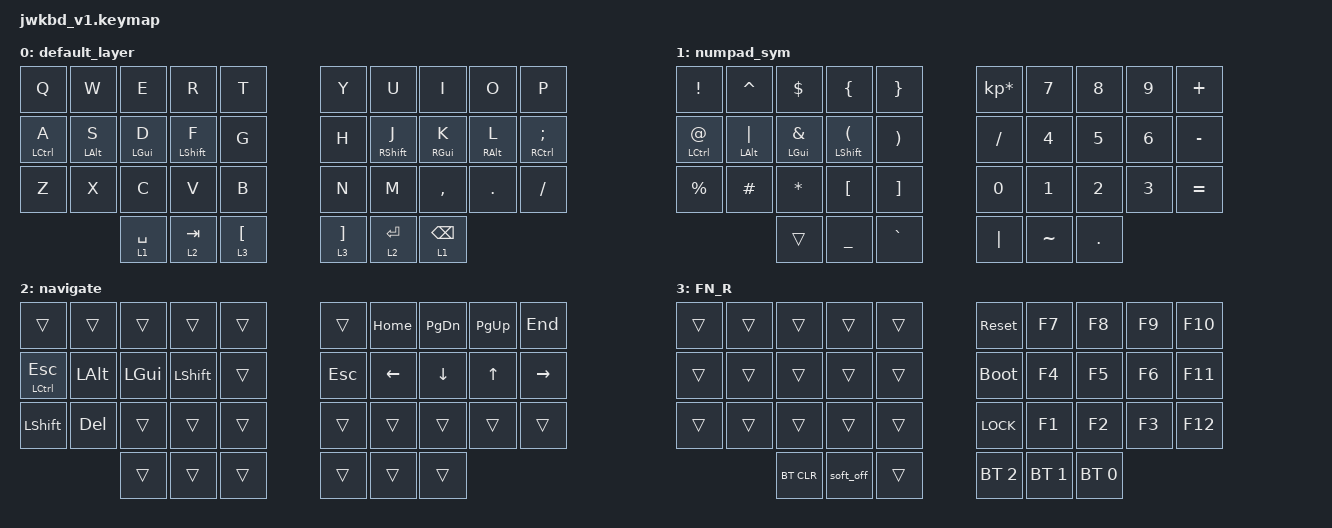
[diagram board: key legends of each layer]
#include <behaviors.dtsi>
#include <dt-bindings/zmk/bt.h>
#include <dt-bindings/zmk/keys.h>

/ {
    combos {
        compatible = "zmk,combos";
        timeout-ms = <50>;

        combo_ae { key-positions = <10 11>; bindings = <&kp RA(A)>; }; // A + S = ą
        combo_cc { key-positions = <22 23>; bindings = <&kp RA(C)>; }; // C + V = ć
        combo_ee { key-positions = <2 3>;   bindings = <&kp RA(E)>; }; // E + R = ę
        combo_ll { key-positions = <18 19>; bindings = <&kp RA(L)>; }; // L + ; = ł
        combo_nn { key-positions = <25 26>; bindings = <&kp RA(N)>; }; // N + M = ń
        combo_oo { key-positions = <8 9>;   bindings = <&kp RA(O)>; }; // O + P = ó
        combo_ss { key-positions = <11 12>; bindings = <&kp RA(S)>; }; // S + D = ś
        combo_zz { key-positions = <20 21>; bindings = <&kp RA(Z)>; }; // Z + X = ż
        combo_xx { key-positions = <21 22>; bindings = <&kp RA(X)>; }; // X + C = ź

        combo_esc { key-positions = <0 1>; bindings = <&kp ESC>; }; // Q + W = ESC
        combo_tab { key-positions = <1 2>; bindings = <&kp TAB>; }; // W + E = TAB

        combo_qmark { key-positions = <27 28>; bindings = <&kp QUESTION>; }; // , + . = ?
        combo_excl  { key-positions = <28 29>; bindings = <&kp EXCLAMATION>; }; // . + / = !

        combo_run { key-positions = <30 31>; bindings = <&kp LG(SPACE)>; }; // TAB + SPACE = launchpad
        combo_quit  { key-positions = <34 25>; bindings = <&kp LG(Q)>; }; // BSPC + ENTER = quit program
    };

    behaviors {
        hm: homerow_mods {
            compatible = "zmk,behavior-hold-tap";
            label = "HOMEROW_MODS";
            #binding-cells = <2>;
            tapping-term-ms = <150>;
            quick-tap-ms = <200>;
            flavor = "tap-preferred";
            bindings = <&kp>, <&kp>;
        };
    };

    keymap {
        compatible = "zmk,keymap";

        default_layer {
            bindings = <
    &kp Q       &kp W      &kp E       &kp R       &kp T       &kp Y      &kp U        &kp I      &kp O      &kp P
    &hm LCTRL A &hm LALT S &hm LGUI D  &hm LSHFT F &kp G       &kp H      &hm RSHFT J  &hm RGUI K &hm RALT L &hm RCTRL SEMI
    &kp Z       &kp X      &kp C       &kp V       &kp B       &kp N      &kp M        &kp COMMA  &kp DOT    &kp SLASH
                           &lt 1 SPACE &lt 2 TAB   &lt 3 LBKT  &lt 3 RBKT &lt 2 ENTER  &lt 1 BSPC
            >;
        };

        numpad_sym {
            bindings = <
    &kp EXCL     &kp CARET     &kp DLLR      &kp LBRC       &kp RBRC   &kp KP_MULTIPLY &kp N7        &kp N8   &kp N9  &kp PLUS
    &hm LCTRL AT &hm LALT PIPE &hm LGUI AMPS &hm LSHFT LPAR &kp RPAR   &kp SLASH       &kp N4        &kp N5   &kp N6  &kp MINUS
    &kp PRCNT    &kp HASH      &kp ASTRK     &kp LBKT       &kp RBKT   &kp N0          &kp N1        &kp N2   &kp N3  &kp EQUAL
                               &trans        &kp UNDER      &kp GRAVE  &kp PIPE        &kp TILDE     &kp DOT
            >;
        };

        navigate {
            bindings = <
    &trans         &trans    &trans    &trans     &trans  &trans   &kp HOME  &kp PG_DN  &kp PG_UP  &kp END
    &hm LCTRL ESC  &kp LALT  &kp LGUI  &kp LSHFT  &trans  &kp ESC  &kp LEFT  &kp DOWN   &kp UP     &kp RIGHT
    &kp LSHFT      &kp DEL   &trans    &trans     &trans  &trans   &trans    &trans     &trans     &trans
                             &trans    &trans     &trans  &trans   &trans    &trans
            >;
        };

        FN_R {
            bindings = <
    &trans     &trans     &trans     &trans     &trans     &sys_reset    &kp F7       &kp F8       &kp F9     &kp F10
    &trans     &trans     &trans     &trans     &trans     &bootloader   &kp F4       &kp F5       &kp F6     &kp F11
    &trans     &trans     &trans     &trans     &trans     &kp K_LOCK    &kp F1       &kp F2       &kp F3     &kp F12
                          &bt BT_CLR &soft_off  &trans     &bt BT_SEL 2  &bt BT_SEL 1 &bt BT_SEL 0
            >;
        };
    };
};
